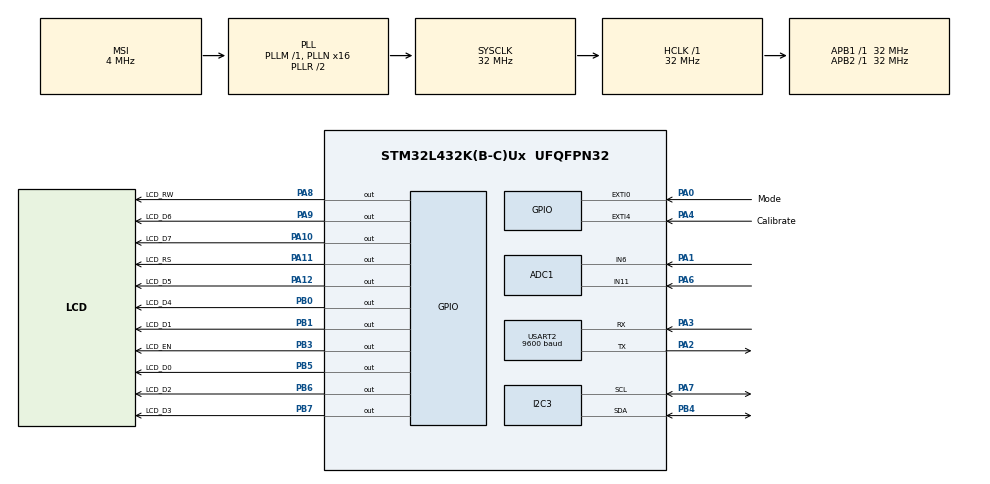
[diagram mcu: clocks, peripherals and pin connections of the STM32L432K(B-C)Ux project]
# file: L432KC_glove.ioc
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ADC1.Channel-0\#ChannelRegularConversion=ADC_CHANNEL_6
ADC1.Channel-1\#ChannelRegularConversion=ADC_CHANNEL_11
ADC1.ClockPrescaler=ADC_CLOCK_ASYNC_DIV32
ADC1.ContinuousConvMode=ENABLE
ADC1.DMAContinuousRequests=ENABLE
ADC1.EOCSelection=ADC_EOC_SEQ_CONV
ADC1.NbrOfConversion=2
ADC1.NbrOfConversionFlag=1
ADC1.OffsetNumber-0\#ChannelRegularConversion=ADC_OFFSET_NONE
ADC1.OffsetNumber-1\#ChannelRegularConversion=ADC_OFFSET_NONE
ADC1.Rank-0\#ChannelRegularConversion=1
ADC1.Rank-1\#ChannelRegularConversion=2
ADC1.SamplingTime-0\#ChannelRegularConversion=ADC_SAMPLETIME_2CYCLES_5
ADC1.SamplingTime-1\#ChannelRegularConversion=ADC_SAMPLETIME_2CYCLES_5
ADC1.master=1
Dma.ADC1.0.Direction=DMA_PERIPH_TO_MEMORY
Dma.ADC1.0.Instance=DMA1_Channel1
Dma.ADC1.0.MemDataAlignment=DMA_MDATAALIGN_HALFWORD
Dma.ADC1.0.MemInc=DMA_MINC_ENABLE
Dma.ADC1.0.Mode=DMA_CIRCULAR
Dma.ADC1.0.PeriphDataAlignment=DMA_PDATAALIGN_HALFWORD
Dma.ADC1.0.PeriphInc=DMA_PINC_DISABLE
Dma.ADC1.0.Priority=DMA_PRIORITY_LOW
Dma.Request0=ADC1
I2C3.Timing=0x00B07CB4
Mcu.Family=STM32L4
Mcu.Name=STM32L432K(B-C)Ux
Mcu.Package=UFQFPN32
NVIC.DMA1_Channel1_IRQn=true\:5\:0\:true\:false\:true\:false\:true\:true
NVIC.EXTI0_IRQn=true\:1\:0\:true\:false\:true\:true\:true\:true
NVIC.EXTI4_IRQn=true\:1\:0\:true\:false\:true\:true\:true\:true
NVIC.PriorityGroup=NVIC_PRIORITYGROUP_4
PA0.GPIO_Label=Mode
PA0.GPIO_PuPd=GPIO_PULLDOWN
PA0.Signal=GPXTI0
PA1.Signal=ADCx_IN6
PA10.GPIO_Label=LCD_D7
PA10.Signal=GPIO_Output
PA11.GPIO_Label=LCD_RS
PA11.Signal=GPIO_Output
PA12.GPIO_Label=LCD_D5
PA12.Signal=GPIO_Output
PA13\ (JTMS-SWDIO).GPIO_Label=SWDIO
PA13\ (JTMS-SWDIO).Signal=SYS_JTMS-SWDIO
PA14\ (JTCK-SWCLK).GPIO_Label=SWCLK
PA14\ (JTCK-SWCLK).Signal=SYS_JTCK-SWCLK
PA2.Mode=Asynchronous
PA2.Signal=USART2_TX
PA3.Mode=Asynchronous
PA3.Signal=USART2_RX
PA4.GPIO_Label=Calibrate
PA4.GPIO_PuPd=GPIO_PULLDOWN
PA4.Signal=GPXTI4
PA6.Signal=ADCx_IN11
PA7.Mode=I2C
PA7.Signal=I2C3_SCL
PA8.GPIO_Label=LCD_RW
PA8.Signal=GPIO_Output
PA9.GPIO_Label=LCD_D6
PA9.Signal=GPIO_Output
PB0.GPIO_Label=LCD_D4
PB0.Signal=GPIO_Output
PB1.GPIO_Label=LCD_D1
PB1.Signal=GPIO_Output
PB3\ (JTDO-TRACESWO).GPIO_Label=LCD_EN
PB3\ (JTDO-TRACESWO).Signal=GPIO_Output
PB4\ (NJTRST).Mode=I2C
PB4\ (NJTRST).Signal=I2C3_SDA
PB5.GPIO_Label=LCD_D0
PB5.Signal=GPIO_Output
PB6.GPIO_Label=LCD_D2
PB6.Signal=GPIO_Output
PB7.GPIO_Label=LCD_D3
PB7.Signal=GPIO_Output
PC14-OSC32_IN\ (PC14).Signal=RCC_OSC32_IN
PC15-OSC32_OUT\ (PC15).Signal=RCC_OSC32_OUT
ProjectManager.HeapSize=0x200
ProjectManager.StackSize=0x400
ProjectManager.TargetToolchain=STM32CubeIDE
RCC.ADCFreq_Value=32000000
RCC.AHBFreq_Value=32000000
RCC.APB1Freq_Value=32000000
RCC.APB1TimFreq_Value=32000000
RCC.APB2Freq_Value=32000000
RCC.APB2TimFreq_Value=32000000
RCC.CortexFreq_Value=32000000
RCC.HCLKFreq_Value=32000000
RCC.HSE_VALUE=8000000
RCC.HSI16_VALUE=16000000
RCC.HSI48_VALUE=48000000
RCC.HSI_VALUE=16000000
RCC.LSE_VALUE=32768
RCC.MSI_VALUE=4000000
RCC.PLLMUL=RCC_PLLMUL_4
RCC.PLLN=16
RCC.PLLSAI1N=16
RCC.SYSCLKFreq_VALUE=32000000
RCC.SYSCLKSource=RCC_SYSCLKSOURCE_PLLCLK
RCC.USBFreq_Value=32000000
RCC.VCOOutputFreq_Value=64000000
SH.ADCx_IN11.0=ADC1_IN11,IN11-Single-Ended
SH.ADCx_IN6.0=ADC1_IN6,IN6-Single-Ended
USART2.BaudRate=9600
USART2.VirtualMode-Asynchronous=VM_ASYNC
board=NUCLEO-L432KC

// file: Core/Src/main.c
/* USER CODE BEGIN Header */
/**
  ******************************************************************************
  * @file           : main.c
  * @brief          : Main program body
  ******************************************************************************
  * @attention
  *
  * Copyright (c) 2025 STMicroelectronics.
  * All rights reserved.
  *
  * This software is licensed under terms that can be found in the LICENSE file
  * in the root directory of this software component.
  * If no LICENSE file comes with this software, it is provided AS-IS.
  *
  ******************************************************************************
  */
/* USER CODE END Header */
#include "main.h"

/* USER CODE BEGIN Includes */
#include "LiquidCrystal.h"
#include "VL53L4CD_api.h"
/* USER CODE END Includes */

/* USER CODE BEGIN PD */
#define accel_addr (0b0011001 << 1)
#define CTRL_REG1_A 0x20
#define lower_x (0x28 | 0x80)
#define ACCELEROMETER_UART_ID 0

// Initial offsets
int16_t accel_xoffset = 0;
int16_t accel_yoffset = 0;
int16_t accel_zoffset = -19000;
uint8_t calibrateFlag = 0;

#define ADC_BUFFER_LENGTH 2
uint16_t adc_buffer[ADC_BUFFER_LENGTH];

// TOF Offset
uint16_t tofOffset = 0;

/*
 * Glove modes
 * 0: Control car
 * 1: Control arm
 */
uint8_t glove_mode = 0;

#define ScreenRefreshCount 5

/* USER CODE END PD */

ADC_HandleTypeDef hadc1;
DMA_HandleTypeDef hdma_adc1;

I2C_HandleTypeDef hi2c3;

UART_HandleTypeDef huart2;

/* USER CODE BEGIN PV */
int status;
volatile int IntCount;
uint8_t p_data_ready;
uint16_t dev, sensor_id;
VL53L4CD_ResultsData_t results;		/* Results data from VL53L4CD */
/* USER CODE END PV */

void SystemClock_Config(void);
static void MX_GPIO_Init(void);
static void MX_DMA_Init(void);
static void MX_I2C3_Init(void);
static void MX_USART2_UART_Init(void);
static void MX_ADC1_Init(void);
/* USER CODE BEGIN PFP */
void get_data_by_polling(uint16_t dev);
/* USER CODE END PFP */

/* USER CODE BEGIN 0 */

uint32_t debounceLength = 200; // Debounce length in milliseconds
void HAL_GPIO_EXTI_Callback(uint16_t GPIO_Pin)
{
	static uint32_t mode_lastTick = 0;
	static uint32_t calibrate_lastTick = 0;
	uint32_t current_tick = HAL_GetTick();

	if (GPIO_Pin == Mode_Pin)
	{
		if (current_tick - mode_lastTick > debounceLength)
		{
			glove_mode = (glove_mode == 0) ? 1 : 0;
			mode_lastTick = current_tick;
		}
	}
	else if (GPIO_Pin == Calibrate_Pin)
	{
		if (current_tick - calibrate_lastTick > debounceLength)
		{
			calibrateFlag = 1;
			calibrate_lastTick = current_tick;
		}
	}
}
/* USER CODE END 0 */

int main(void)
{

  /* MCU Configuration--------------------------------------------------------*/

  /* Reset of all peripherals, Initializes the Flash interface and the Systick. */
  HAL_Init();

  /* Configure the system clock */
  SystemClock_Config();

  /* Initialize all configured peripherals */
  MX_GPIO_Init();
  MX_DMA_Init();
  MX_I2C3_Init();
  MX_USART2_UART_Init();
  MX_ADC1_Init();
  /* USER CODE BEGIN 2 */
	dev = 0x52;
	status = VL53L4CD_GetSensorId(dev, &sensor_id);
	if(status || (sensor_id != 0xebaa)) { return 2; }
	status = VL53L4CD_SensorInit(dev);

	// Initialize variables
	HAL_StatusTypeDef ret;
	uint8_t buf[50];

	int16_t x_val, y_val, z_val;
	char x_send[8];
	char y_send[8];
	char z_send[8];
	char adc_str[8];

	char tofStr[8];
	int16_t tofDistance;

	// Enable accelerometer
	buf[0] = CTRL_REG1_A;
	buf[1] = 0b10010111;

	ret = HAL_I2C_Master_Transmit(&hi2c3, accel_addr, buf, 2, HAL_MAX_DELAY);
	if (ret != HAL_OK) { return 1; } // return with error code 1

	// Enable screen
	LiquidCrystal_init(0);
	status = VL53L4CD_StartRanging(dev);
  /* USER CODE END 2 */

  /* Infinite loop */
  /* USER CODE BEGIN WHILE */
  HAL_ADC_Start_DMA(&hadc1, (uint32_t*)adc_buffer, ADC_BUFFER_LENGTH);
  int screenCounter = 0;
  while (1)
  {
	screenCounter++;

	// Set up UART message with start character '#' and glove_mode
	char final_send[40];
	final_send[0] = '#';

	char modeStr[2];
	modeStr[0] = (glove_mode == 0) ? '0' : '1';
	modeStr[1] = '\0';

	final_send[1] = modeStr[0];

	// Retrieve accelerometer values
	buf[0] = lower_x;
	ret = HAL_I2C_Master_Transmit(&hi2c3, accel_addr, buf, 1, HAL_MAX_DELAY);
	if (ret != HAL_OK) { continue; }
	ret = HAL_I2C_Master_Receive(&hi2c3, accel_addr, buf, 6, HAL_MAX_DELAY);
	if (ret != HAL_OK) { continue; }

	x_val = (buf[1] << 8) | buf[0];
	y_val = (buf[3] << 8) | buf[2];
	z_val = (buf[5] << 8) | buf[4];

	// Retrieve TOF values
	status = VL53L4CD_CheckForDataReady(dev, &p_data_ready);
	if (!p_data_ready) { continue; }

	/* Read measured distance. RangeStatus = 0 means valid data */
	VL53L4CD_GetResult(dev, &results);
	tofDistance = results.distance_mm;

	/* (Mandatory) Clear HW interrupt to restart measurements */
	VL53L4CD_ClearInterrupt(dev);

	// If need to calibrate
	if (calibrateFlag == 1)
	{
		// Update offsets
		accel_xoffset = x_val;
		accel_yoffset = y_val;
		accel_zoffset = z_val;

		tofOffset = tofDistance;

		// Reset calibrate flag
		calibrateFlag = 0;
	}

	// Apply calibrated offset
	x_val -= accel_xoffset;
	y_val -= accel_yoffset;
	z_val -= accel_zoffset;
	z_val += -19000;

	tofDistance -= tofOffset;

	if (glove_mode == 0)
	{
		sprintf(x_send, "%d", x_val);
		sprintf(y_send, "%d", y_val);
		sprintf(z_send, "%d", z_val);

		// Package accelerometer values
		memcpy(final_send+2, x_send, 8);
		memcpy(final_send+10, y_send, 8);
		memcpy(final_send+18, z_send, 8);

		// Start Character (1) + Glove Mode (1) + Accelerometer values (8+8+8=24) = 26 bytes
		HAL_UART_Transmit(&huart2, (const uint8_t *)final_send, 26, 0xFFFF);

		if (screenCounter >= ScreenRefreshCount)
		{
			//Print to LCD Screen
			LiquidCrystal_clear();
			LiquidCrystal_print("Mode: ");
			LiquidCrystal_print(modeStr);

			LiquidCrystal_setCursor(0, 1);
			LiquidCrystal_print("x:");
			LiquidCrystal_print(x_send);
			LiquidCrystal_print(" | ");
			LiquidCrystal_print("y:");
			LiquidCrystal_print(y_send);
			screenCounter = 0;
		}
	}
	else if (glove_mode == 1)
	{
		// Package ToF values
		sprintf(tofStr, "%d", (int)tofDistance);
		memcpy(final_send+2, tofStr, 8);

		// Retrieve ADC (flex sensor) values (Only channel 6 works. Channel 11 has hardware issue probably)
		uint16_t ADC_ch6 = adc_buffer[0];  // Channel 6 (Rank 1)
		uint16_t ADC_ch11 = adc_buffer[1]; // Channel 11 (Rank 2)

		// Package ADC values
		sprintf(adc_str, "%d", ADC_ch6);
		memcpy(final_send+10, adc_str, 8);

		// Start Character (1) + Glove Mode (1) + TOF Values (8) + Flex sensor values (8) = 18 bytes
		HAL_UART_Transmit(&huart2, (const uint8_t *)final_send, 18, 0xFFFF);

		if (screenCounter >= ScreenRefreshCount)
		{
			//Print to LCD Screen
			LiquidCrystal_clear();
			LiquidCrystal_print("Mode: ");
			LiquidCrystal_print(modeStr);

			LiquidCrystal_setCursor(0, 1);
			LiquidCrystal_print("ADC:");
			LiquidCrystal_print(adc_str);
			LiquidCrystal_print("|");
			LiquidCrystal_print("ToF:");
			LiquidCrystal_print(tofStr);
		}
	}

    /* USER CODE END WHILE */

  }
}

void SystemClock_Config(void)
{
  RCC_OscInitTypeDef RCC_OscInitStruct = {0};
  RCC_ClkInitTypeDef RCC_ClkInitStruct = {0};

  /** Configure the main internal regulator output voltage
  */
  if (HAL_PWREx_ControlVoltageScaling(PWR_REGULATOR_VOLTAGE_SCALE1) != HAL_OK)
  {
    Error_Handler();
  }

  /** Initializes the RCC Oscillators according to the specified parameters
  * in the RCC_OscInitTypeDef structure.
  */
  RCC_OscInitStruct.OscillatorType = RCC_OSCILLATORTYPE_MSI;
  RCC_OscInitStruct.MSIState = RCC_MSI_ON;
  RCC_OscInitStruct.MSICalibrationValue = 0;
  RCC_OscInitStruct.MSIClockRange = RCC_MSIRANGE_6;
  RCC_OscInitStruct.PLL.PLLState = RCC_PLL_ON;
  RCC_OscInitStruct.PLL.PLLSource = RCC_PLLSOURCE_MSI;
  RCC_OscInitStruct.PLL.PLLM = 1;
  RCC_OscInitStruct.PLL.PLLN = 16;
  RCC_OscInitStruct.PLL.PLLP = RCC_PLLP_DIV7;
  RCC_OscInitStruct.PLL.PLLQ = RCC_PLLQ_DIV2;
  RCC_OscInitStruct.PLL.PLLR = RCC_PLLR_DIV2;
  if (HAL_RCC_OscConfig(&RCC_OscInitStruct) != HAL_OK)
  {
    Error_Handler();
  }

  /** Initializes the CPU, AHB and APB buses clocks
  */
  RCC_ClkInitStruct.ClockType = RCC_CLOCKTYPE_HCLK|RCC_CLOCKTYPE_SYSCLK
                              |RCC_CLOCKTYPE_PCLK1|RCC_CLOCKTYPE_PCLK2;
  RCC_ClkInitStruct.SYSCLKSource = RCC_SYSCLKSOURCE_PLLCLK;
  RCC_ClkInitStruct.AHBCLKDivider = RCC_SYSCLK_DIV1;
  RCC_ClkInitStruct.APB1CLKDivider = RCC_HCLK_DIV1;
  RCC_ClkInitStruct.APB2CLKDivider = RCC_HCLK_DIV1;

  if (HAL_RCC_ClockConfig(&RCC_ClkInitStruct, FLASH_LATENCY_1) != HAL_OK)
  {
    Error_Handler();
  }
}

static void MX_ADC1_Init(void)
{

  ADC_ChannelConfTypeDef sConfig = {0};

  /** Common config
  */
  hadc1.Instance = ADC1;
  hadc1.Init.ClockPrescaler = ADC_CLOCK_ASYNC_DIV32;
  hadc1.Init.Resolution = ADC_RESOLUTION_12B;
  hadc1.Init.DataAlign = ADC_DATAALIGN_RIGHT;
  hadc1.Init.ScanConvMode = ADC_SCAN_ENABLE;
  hadc1.Init.EOCSelection = ADC_EOC_SEQ_CONV;
  hadc1.Init.LowPowerAutoWait = DISABLE;
  hadc1.Init.ContinuousConvMode = ENABLE;
  hadc1.Init.NbrOfConversion = 2;
  hadc1.Init.DiscontinuousConvMode = DISABLE;
  hadc1.Init.ExternalTrigConv = ADC_SOFTWARE_START;
  hadc1.Init.ExternalTrigConvEdge = ADC_EXTERNALTRIGCONVEDGE_NONE;
  hadc1.Init.DMAContinuousRequests = ENABLE;
  hadc1.Init.Overrun = ADC_OVR_DATA_PRESERVED;
  hadc1.Init.OversamplingMode = DISABLE;
  if (HAL_ADC_Init(&hadc1) != HAL_OK)
  {
    Error_Handler();
  }

  /** Configure Regular Channel
  */
  sConfig.Channel = ADC_CHANNEL_6;
  sConfig.Rank = ADC_REGULAR_RANK_1;
  sConfig.SamplingTime = ADC_SAMPLETIME_2CYCLES_5;
  sConfig.SingleDiff = ADC_SINGLE_ENDED;
  sConfig.OffsetNumber = ADC_OFFSET_NONE;
  sConfig.Offset = 0;
  if (HAL_ADC_ConfigChannel(&hadc1, &sConfig) != HAL_OK)
  {
    Error_Handler();
  }

  /** Configure Regular Channel
  */
  sConfig.Channel = ADC_CHANNEL_11;
  sConfig.Rank = ADC_REGULAR_RANK_2;
  if (HAL_ADC_ConfigChannel(&hadc1, &sConfig) != HAL_OK)
  {
    Error_Handler();
  }

}

static void MX_I2C3_Init(void)
{

  hi2c3.Instance = I2C3;
  hi2c3.Init.Timing = 0x00B07CB4;
  hi2c3.Init.OwnAddress1 = 0;
  hi2c3.Init.AddressingMode = I2C_ADDRESSINGMODE_7BIT;
  hi2c3.Init.DualAddressMode = I2C_DUALADDRESS_DISABLE;
  hi2c3.Init.OwnAddress2 = 0;
  hi2c3.Init.OwnAddress2Masks = I2C_OA2_NOMASK;
  hi2c3.Init.GeneralCallMode = I2C_GENERALCALL_DISABLE;
  hi2c3.Init.NoStretchMode = I2C_NOSTRETCH_DISABLE;
  if (HAL_I2C_Init(&hi2c3) != HAL_OK)
  {
    Error_Handler();
  }

  /** Configure Analogue filter
  */
  if (HAL_I2CEx_ConfigAnalogFilter(&hi2c3, I2C_ANALOGFILTER_ENABLE) != HAL_OK)
  {
    Error_Handler();
  }

  /** Configure Digital filter
  */
  if (HAL_I2CEx_ConfigDigitalFilter(&hi2c3, 0) != HAL_OK)
  {
    Error_Handler();
  }

}

static void MX_USART2_UART_Init(void)
{

  huart2.Instance = USART2;
  huart2.Init.BaudRate = 9600;
  huart2.Init.WordLength = UART_WORDLENGTH_8B;
  huart2.Init.StopBits = UART_STOPBITS_1;
  huart2.Init.Parity = UART_PARITY_NONE;
  huart2.Init.Mode = UART_MODE_TX_RX;
  huart2.Init.HwFlowCtl = UART_HWCONTROL_NONE;
  huart2.Init.OverSampling = UART_OVERSAMPLING_16;
  huart2.Init.OneBitSampling = UART_ONE_BIT_SAMPLE_DISABLE;
  huart2.AdvancedInit.AdvFeatureInit = UART_ADVFEATURE_NO_INIT;
  if (HAL_UART_Init(&huart2) != HAL_OK)
  {
    Error_Handler();
  }

}

static void MX_DMA_Init(void)
{

  /* DMA controller clock enable */
  __HAL_RCC_DMA1_CLK_ENABLE();

  /* DMA interrupt init */
  /* DMA1_Channel1_IRQn interrupt configuration */
  HAL_NVIC_SetPriority(DMA1_Channel1_IRQn, 5, 0);
  HAL_NVIC_EnableIRQ(DMA1_Channel1_IRQn);

}

static void MX_GPIO_Init(void)
{
  GPIO_InitTypeDef GPIO_InitStruct = {0};

  /* GPIO Ports Clock Enable */
  __HAL_RCC_GPIOC_CLK_ENABLE();
  __HAL_RCC_GPIOA_CLK_ENABLE();
  __HAL_RCC_GPIOB_CLK_ENABLE();

  /*Configure GPIO pin Output Level */
  HAL_GPIO_WritePin(GPIOB, LCD_D4_Pin|LCD_D1_Pin|LCD_EN_Pin|LCD_D0_Pin
                          |LCD_D2_Pin|LCD_D3_Pin, GPIO_PIN_RESET);

  /*Configure GPIO pin Output Level */
  HAL_GPIO_WritePin(GPIOA, LCD_RW_Pin|LCD_D6_Pin|LCD_D7_Pin|LCD_RS_Pin
                          |LCD_D5_Pin, GPIO_PIN_RESET);

  /*Configure GPIO pins : Mode_Pin Calibrate_Pin */
  GPIO_InitStruct.Pin = Mode_Pin|Calibrate_Pin;
  GPIO_InitStruct.Mode = GPIO_MODE_IT_RISING;
  GPIO_InitStruct.Pull = GPIO_PULLDOWN;
  HAL_GPIO_Init(GPIOA, &GPIO_InitStruct);

  /*Configure GPIO pins : LCD_D4_Pin LCD_D1_Pin LCD_EN_Pin LCD_D0_Pin
                           LCD_D2_Pin LCD_D3_Pin */
  GPIO_InitStruct.Pin = LCD_D4_Pin|LCD_D1_Pin|LCD_EN_Pin|LCD_D0_Pin
                          |LCD_D2_Pin|LCD_D3_Pin;
  GPIO_InitStruct.Mode = GPIO_MODE_OUTPUT_PP;
  GPIO_InitStruct.Pull = GPIO_NOPULL;
  GPIO_InitStruct.Speed = GPIO_SPEED_FREQ_LOW;
  HAL_GPIO_Init(GPIOB, &GPIO_InitStruct);

  /*Configure GPIO pins : LCD_RW_Pin LCD_D6_Pin LCD_D7_Pin LCD_RS_Pin
                           LCD_D5_Pin */
  GPIO_InitStruct.Pin = LCD_RW_Pin|LCD_D6_Pin|LCD_D7_Pin|LCD_RS_Pin
                          |LCD_D5_Pin;
  GPIO_InitStruct.Mode = GPIO_MODE_OUTPUT_PP;
  GPIO_InitStruct.Pull = GPIO_NOPULL;
  GPIO_InitStruct.Speed = GPIO_SPEED_FREQ_LOW;
  HAL_GPIO_Init(GPIOA, &GPIO_InitStruct);

  /* EXTI interrupt init*/
  HAL_NVIC_SetPriority(EXTI0_IRQn, 1, 0);
  HAL_NVIC_EnableIRQ(EXTI0_IRQn);

  HAL_NVIC_SetPriority(EXTI4_IRQn, 1, 0);
  HAL_NVIC_EnableIRQ(EXTI4_IRQn);

}

void Error_Handler(void)
{
  __disable_irq();
  while (1)
  {
  }
}
